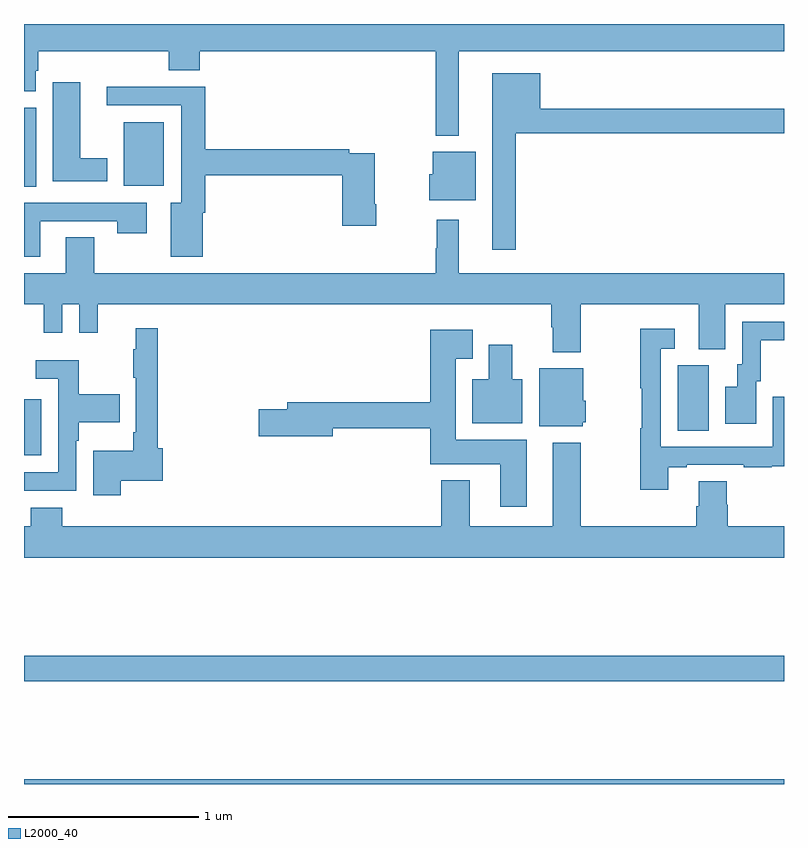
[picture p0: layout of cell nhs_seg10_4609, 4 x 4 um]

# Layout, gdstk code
import gdstk
lib = gdstk.Library(unit=1e-6, precision=1e-09)
def R(c, l, rs):  # rectangles x0, y0, x1, y1
    for r in rs: c.add(gdstk.rectangle(r[:2], r[2:], *l))
def P(c, l, *ps):  # polygons
    for p in ps: c.add(gdstk.Polygon(p, *l))
L2000_40 = (2000, 40)

nhs_seg10_4609 = lib.new_cell('nhs_seg10_4609')
R(nhs_seg10_4609, L2000_40, [(375,1256.5,379,1256.524), (375,1257.04,379,1257.176), (375,1258.229,375.091,1258.525), (378.44,1258.36,378.604,1258.704), (375,1259.644,375.064,1260.06), (375.524,1259.648,375.736,1259.983)])
P(nhs_seg10_4609, L2000_40, [(377.287,1260.356),(379,1260.356),(379,1260.5),(375,1260.5),(375,1260.145),(375.061,1260.145),(375.061,1260.255),(375.074,1260.255),(375.074,1260.356),(375.761,1260.356),(375.761,1260.257),(375.926,1260.257),(375.926,1260.356),(377.166,1260.356),(377.166,1259.912),(377.287,1259.912)],
  [(377.587,1259.926),(379,1259.926),(379,1260.055),(377.716,1260.055),(377.716,1260.241),(377.465,1260.241),(377.465,1259.313),(377.587,1259.313)],
  [(375.439,1259.794),(375.295,1259.794),(375.295,1260.193),(375.152,1260.193),(375.152,1259.672),(375.439,1259.672)],
  [(375.94,1259.507),(375.953,1259.507),(375.953,1259.704),(376.676,1259.704),(376.676,1259.439),(376.854,1259.439),(376.854,1259.551),(376.846,1259.551),(376.846,1259.82),(376.712,1259.82),(376.712,1259.84),(375.953,1259.84),(375.953,1260.17),(375.435,1260.17),(375.435,1260.072),(375.827,1260.072),(375.827,1259.56),(375.773,1259.56),(375.773,1259.274),(375.94,1259.274)],
  [(377.377,1259.827),(377.15,1259.827),(377.15,1259.709),(377.132,1259.709),(377.132,1259.573),(377.377,1259.573)],
  [(375.085,1259.463),(375.49,1259.463),(375.49,1259.4),(375.646,1259.4),(375.646,1259.559),(375,1259.559),(375,1259.274),(375.085,1259.274)],
  [(377.931,1259.024),(378.551,1259.024),(378.551,1258.789),(378.691,1258.789),(378.691,1259.024),(379,1259.024),(379,1259.188),(377.287,1259.188),(377.287,1259.47),(377.173,1259.47),(377.173,1259.321),(377.166,1259.321),(377.166,1259.188),(375.369,1259.188),(375.369,1259.378),(375.221,1259.378),(375.221,1259.188),(375,1259.188),(375,1259.024),(375.104,1259.024),(375.104,1258.875),(375.201,1258.875),(375.201,1259.024),(375.291,1259.024),(375.291,1258.875),(375.389,1258.875),(375.389,1259.024),(377.776,1259.024),(377.776,1258.904),(377.783,1258.904),(377.783,1258.772),(377.931,1258.772)],
  [(378.853,1258.62),(378.877,1258.62),(378.877,1258.836),(379,1258.836),(379,1258.932),(378.78,1258.932),(378.78,1258.71),(378.755,1258.71),(378.755,1258.591),(378.692,1258.591),(378.692,1258.395),(378.853,1258.395)],
  [(375.509,1258.097),(375.731,1258.097),(375.731,1258.268),(375.704,1258.268),(375.704,1258.9),(375.587,1258.9),(375.587,1258.787),(375.576,1258.787),(375.576,1258.639),(375.588,1258.639),(375.588,1258.351),(375.576,1258.351),(375.576,1258.255),(375.365,1258.255),(375.365,1258.02),(375.509,1258.02)],
  [(378.391,1258.167),(378.487,1258.167),(378.487,1258.179),(378.787,1258.179),(378.787,1258.167),(378.935,1258.167),(378.935,1258.173),(379,1258.173),(379,1258.537),(378.942,1258.537),(378.942,1258.275),(378.351,1258.275),(378.351,1258.791),(378.424,1258.791),(378.424,1258.897),(378.243,1258.897),(378.243,1258.584),(378.25,1258.584),(378.25,1258.372),(378.243,1258.372),(378.243,1258.05),(378.391,1258.05)],
  [(377.647,1258.312),(377.272,1258.312),(377.272,1258.739),(377.362,1258.739),(377.362,1258.891),(377.138,1258.891),(377.138,1258.508),(376.385,1258.508),(376.385,1258.472),(376.236,1258.472),(376.236,1258.33),(376.624,1258.33),(376.624,1258.372),(377.138,1258.372),(377.138,1258.184),(377.507,1258.184),(377.507,1257.96),(377.647,1257.96)],
  [(377.623,1258.63),(377.569,1258.63),(377.569,1258.813),(377.447,1258.813),(377.447,1258.63),(377.36,1258.63),(377.36,1258.4),(377.623,1258.4)],
  [(375.276,1258.307),(375.289,1258.307),(375.289,1258.403),(375.503,1258.403),(375.503,1258.551),(375.289,1258.551),(375.289,1258.729),(375.063,1258.729),(375.063,1258.632),(375.18,1258.632),(375.18,1258.14),(375,1258.14),(375,1258.044),(375.276,1258.044)],
  [(377.94,1258.404),(377.956,1258.404),(377.956,1258.518),(377.944,1258.518),(377.944,1258.687),(377.711,1258.687),(377.711,1258.382),(377.94,1258.382)],
  [(379,1257.856),(378.704,1257.856),(378.704,1257.969),(378.699,1257.969),(378.699,1258.094),(378.551,1258.094),(378.551,1257.962),(378.539,1257.962),(378.539,1257.856),(377.931,1257.856),(377.931,1258.297),(377.783,1258.297),(377.783,1257.856),(377.347,1257.856),(377.347,1258.099),(377.195,1258.099),(377.195,1257.856),(375.2,1257.856),(375.2,1257.955),(375.035,1257.955),(375.035,1257.856),(375,1257.856),(375,1257.692),(379,1257.692)])

lib.write_gds('nhs_seg10_4609.gds')
